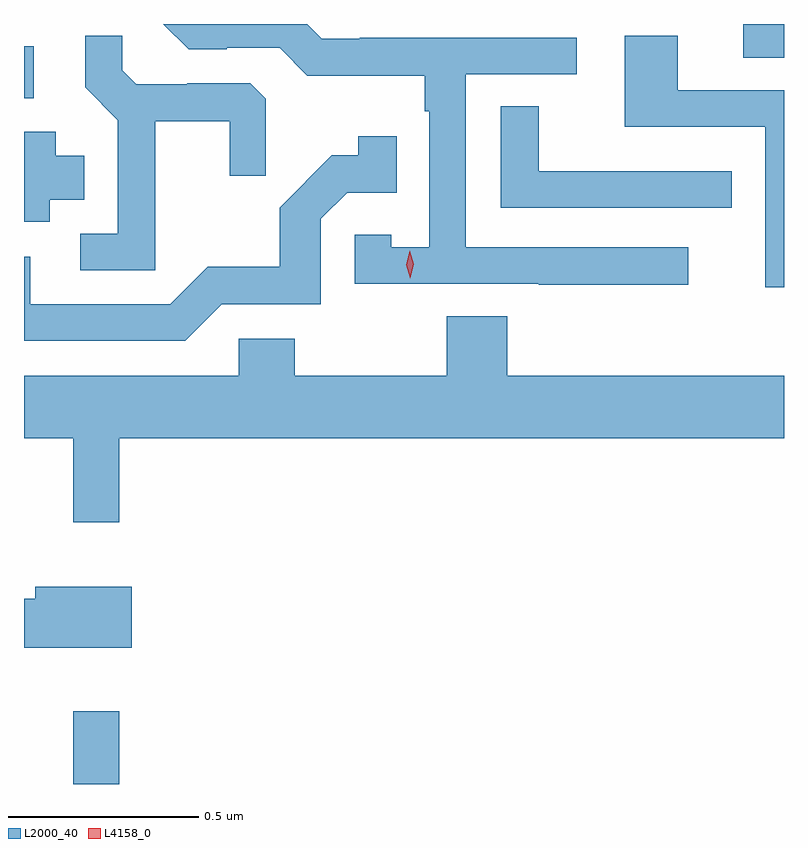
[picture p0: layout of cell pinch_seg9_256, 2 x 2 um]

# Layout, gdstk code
import gdstk
lib = gdstk.Library(unit=1e-6, precision=1e-09)
def R(c, l, rs):  # rectangles x0, y0, x1, y1
    for r in rs: c.add(gdstk.rectangle(r[:2], r[2:], *l))
def P(c, l, *ps):  # polygons
    for p in ps: c.add(gdstk.Polygon(p, *l))
L2000_40 = (2000, 40)
L4158_0 = (4158, 0)

pinch_seg9_256 = lib.new_cell('pinch_seg9_256')
R(pinch_seg9_256, L2000_40, [(441.959,1215.49,442.081,1215.682), (441.83,1217.295,441.856,1217.431), (443.723,1217.401,443.83,1217.49)])
P(pinch_seg9_256, L2000_40, [(443.578,1216.902),(442.992,1216.902),(442.992,1217.358),(443.284,1217.358),(443.284,1217.454),(442.714,1217.454),(442.714,1217.451),(442.614,1217.451),(442.575,1217.49),(442.197,1217.49),(442.263,1217.424),(442.364,1217.424),(442.364,1217.427),(442.503,1217.427),(442.576,1217.354),(442.884,1217.354),(442.884,1217.261),(442.896,1217.261),(442.896,1216.903),(442.797,1216.903),(442.797,1216.935),(442.701,1216.935),(442.701,1216.806),(443.185,1216.806),(443.185,1216.804),(443.578,1216.804)],
  [(443.83,1217.316),(443.551,1217.316),(443.551,1217.459),(443.411,1217.459),(443.411,1217.22),(443.781,1217.22),(443.781,1216.797),(443.83,1216.797)],
  [(442.175,1217.234),(442.372,1217.234),(442.372,1217.091),(442.466,1217.091),(442.466,1217.293),(442.425,1217.334),(442.26,1217.334),(442.26,1217.331),(442.126,1217.331),(442.089,1217.368),(442.089,1217.459),(441.991,1217.459),(441.991,1217.323),(442.077,1217.237),(442.077,1216.938),(441.978,1216.938),(441.978,1216.842),(442.175,1216.842)],
  [(443.692,1217.102),(443.579,1217.102),(443.579,1217.103),(443.184,1217.103),(443.184,1217.273),(443.085,1217.273),(443.085,1217.007),(443.692,1217.007)],
  [(441.898,1217.027),(441.988,1217.027),(441.988,1217.143),(441.913,1217.143),(441.913,1217.206),(441.83,1217.206),(441.83,1216.97),(441.898,1216.97)],
  [(442.35,1216.752),(442.611,1216.752),(442.611,1216.977),(442.68,1217.046),(442.811,1217.046),(442.811,1217.194),(442.71,1217.194),(442.71,1217.144),(442.64,1217.144),(442.503,1217.006),(442.503,1216.851),(442.314,1216.851),(442.215,1216.752),(441.847,1216.752),(441.847,1216.878),(441.83,1216.878),(441.83,1216.656),(442.254,1216.656)],
  [(442.081,1216.4),(443.83,1216.4),(443.83,1216.564),(443.102,1216.564),(443.102,1216.721),(442.942,1216.721),(442.942,1216.564),(442.542,1216.564),(442.542,1216.662),(442.395,1216.662),(442.395,1216.564),(441.83,1216.564),(441.83,1216.4),(441.959,1216.4),(441.959,1216.179),(442.081,1216.179)],
  [(442.114,1216.009),(441.86,1216.009),(441.86,1215.977),(441.83,1215.977),(441.83,1215.848),(442.114,1215.848)])
P(pinch_seg9_256, L4158_0, [(442.846,1216.821),(442.836,1216.857),(442.845,1216.893),(442.845,1216.893),(442.845,1216.893),(442.856,1216.858),(442.847,1216.821),(442.847,1216.821)])

lib.write_gds('pinch_seg9_256.gds')
